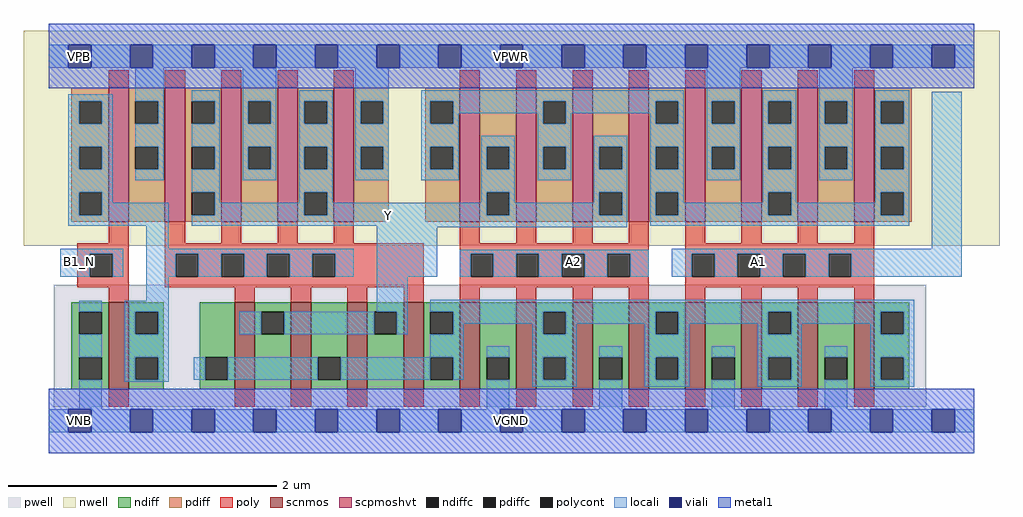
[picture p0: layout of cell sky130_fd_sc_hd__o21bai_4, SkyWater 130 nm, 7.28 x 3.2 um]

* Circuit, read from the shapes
.subckt sky130_fd_sc_hd__o21bai_4 A1 A2 B1_N VGND VNB VPB VPWR Y
XM1 n1 B1_N VGND VNB sky130_fd_pr__nfet_01v8 w=0.65 l=0.15
XM2 Y n1 n2 VNB sky130_fd_pr__nfet_01v8 w=0.65 l=0.15 m=4
XM3 VGND A2 n2 VNB sky130_fd_pr__nfet_01v8 w=0.65 l=0.15 m=4
XM4 VGND A1 n2 VNB sky130_fd_pr__nfet_01v8 w=0.65 l=0.15 m=4
XM5 VPWR B1_N n1 VPB sky130_fd_pr__pfet_01v8_hvt w=1 l=0.15
XM6 Y n1 VPWR VPB sky130_fd_pr__pfet_01v8_hvt w=1 l=0.15 m=4
XM7 Y A2 n3 VPB sky130_fd_pr__pfet_01v8_hvt w=1 l=0.15 m=4
XM8 VPWR A1 n3 VPB sky130_fd_pr__pfet_01v8_hvt w=1 l=0.15 m=4
.ends

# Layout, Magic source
magic
tech sky130B
magscale 1 2
<< nwell >>
rect -38 261 1418 582
<< pwell >>
rect 7 21 1309 203
rect 29 -17 63 21
<< scnmos >>
rect 89 47 119 177
rect 277 47 307 177
rect 361 47 391 177
rect 445 47 475 177
rect 529 47 559 177
rect 613 47 643 177
rect 697 47 727 177
rect 781 47 811 177
rect 865 47 895 177
rect 949 47 979 177
rect 1033 47 1063 177
rect 1117 47 1147 177
rect 1201 47 1231 177
<< scpmoshvt >>
rect 89 297 119 497
rect 173 297 203 497
rect 257 297 287 497
rect 341 297 371 497
rect 425 297 455 497
rect 613 297 643 497
rect 697 297 727 497
rect 781 297 811 497
rect 865 297 895 497
rect 949 297 979 497
rect 1033 297 1063 497
rect 1117 297 1147 497
rect 1201 297 1231 497
<< ndiff >>
rect 33 163 89 177
rect 33 129 45 163
rect 79 129 89 163
rect 33 95 89 129
rect 33 61 45 95
rect 79 61 89 95
rect 33 47 89 61
rect 119 163 171 177
rect 119 129 129 163
rect 163 129 171 163
rect 119 95 171 129
rect 119 61 129 95
rect 163 61 171 95
rect 119 47 171 61
rect 225 95 277 177
rect 225 61 233 95
rect 267 61 277 95
rect 225 47 277 61
rect 307 163 361 177
rect 307 129 317 163
rect 351 129 361 163
rect 307 47 361 129
rect 391 95 445 177
rect 391 61 401 95
rect 435 61 445 95
rect 391 47 445 61
rect 475 163 529 177
rect 475 129 485 163
rect 519 129 529 163
rect 475 47 529 129
rect 559 163 613 177
rect 559 129 569 163
rect 603 129 613 163
rect 559 95 613 129
rect 559 61 569 95
rect 603 61 613 95
rect 559 47 613 61
rect 643 95 697 177
rect 643 61 653 95
rect 687 61 697 95
rect 643 47 697 61
rect 727 163 781 177
rect 727 129 737 163
rect 771 129 781 163
rect 727 95 781 129
rect 727 61 737 95
rect 771 61 781 95
rect 727 47 781 61
rect 811 95 865 177
rect 811 61 821 95
rect 855 61 865 95
rect 811 47 865 61
rect 895 163 949 177
rect 895 129 905 163
rect 939 129 949 163
rect 895 95 949 129
rect 895 61 905 95
rect 939 61 949 95
rect 895 47 949 61
rect 979 95 1033 177
rect 979 61 989 95
rect 1023 61 1033 95
rect 979 47 1033 61
rect 1063 163 1117 177
rect 1063 129 1073 163
rect 1107 129 1117 163
rect 1063 95 1117 129
rect 1063 61 1073 95
rect 1107 61 1117 95
rect 1063 47 1117 61
rect 1147 95 1201 177
rect 1147 61 1157 95
rect 1191 61 1201 95
rect 1147 47 1201 61
rect 1231 163 1283 177
rect 1231 129 1241 163
rect 1275 129 1283 163
rect 1231 95 1283 129
rect 1231 61 1241 95
rect 1275 61 1283 95
rect 1231 47 1283 61
<< pdiff >>
rect 33 477 89 497
rect 33 443 45 477
rect 79 443 89 477
rect 33 409 89 443
rect 33 375 45 409
rect 79 375 89 409
rect 33 341 89 375
rect 33 307 45 341
rect 79 307 89 341
rect 33 297 89 307
rect 119 477 173 497
rect 119 443 129 477
rect 163 443 173 477
rect 119 409 173 443
rect 119 375 129 409
rect 163 375 173 409
rect 119 297 173 375
rect 203 477 257 497
rect 203 443 213 477
rect 247 443 257 477
rect 203 409 257 443
rect 203 375 213 409
rect 247 375 257 409
rect 203 341 257 375
rect 203 307 213 341
rect 247 307 257 341
rect 203 297 257 307
rect 287 477 341 497
rect 287 443 297 477
rect 331 443 341 477
rect 287 409 341 443
rect 287 375 297 409
rect 331 375 341 409
rect 287 297 341 375
rect 371 477 425 497
rect 371 443 381 477
rect 415 443 425 477
rect 371 409 425 443
rect 371 375 381 409
rect 415 375 425 409
rect 371 341 425 375
rect 371 307 381 341
rect 415 307 425 341
rect 371 297 425 307
rect 455 477 507 497
rect 455 443 465 477
rect 499 443 507 477
rect 455 409 507 443
rect 455 375 465 409
rect 499 375 507 409
rect 455 297 507 375
rect 561 477 613 497
rect 561 443 569 477
rect 603 443 613 477
rect 561 409 613 443
rect 561 375 569 409
rect 603 375 613 409
rect 561 297 613 375
rect 643 409 697 497
rect 643 375 653 409
rect 687 375 697 409
rect 643 341 697 375
rect 643 307 653 341
rect 687 307 697 341
rect 643 297 697 307
rect 727 477 781 497
rect 727 443 737 477
rect 771 443 781 477
rect 727 409 781 443
rect 727 375 737 409
rect 771 375 781 409
rect 727 297 781 375
rect 811 409 865 497
rect 811 375 821 409
rect 855 375 865 409
rect 811 341 865 375
rect 811 307 821 341
rect 855 307 865 341
rect 811 297 865 307
rect 895 477 949 497
rect 895 443 905 477
rect 939 443 949 477
rect 895 409 949 443
rect 895 375 905 409
rect 939 375 949 409
rect 895 341 949 375
rect 895 307 905 341
rect 939 307 949 341
rect 895 297 949 307
rect 979 477 1033 497
rect 979 443 989 477
rect 1023 443 1033 477
rect 979 409 1033 443
rect 979 375 989 409
rect 1023 375 1033 409
rect 979 297 1033 375
rect 1063 477 1117 497
rect 1063 443 1073 477
rect 1107 443 1117 477
rect 1063 409 1117 443
rect 1063 375 1073 409
rect 1107 375 1117 409
rect 1063 341 1117 375
rect 1063 307 1073 341
rect 1107 307 1117 341
rect 1063 297 1117 307
rect 1147 477 1201 497
rect 1147 443 1157 477
rect 1191 443 1201 477
rect 1147 409 1201 443
rect 1147 375 1157 409
rect 1191 375 1201 409
rect 1147 297 1201 375
rect 1231 477 1287 497
rect 1231 443 1241 477
rect 1275 443 1287 477
rect 1231 409 1287 443
rect 1231 375 1241 409
rect 1275 375 1287 409
rect 1231 341 1287 375
rect 1231 307 1241 341
rect 1275 307 1287 341
rect 1231 297 1287 307
<< ndiffc >>
rect 45 129 79 163
rect 45 61 79 95
rect 129 129 163 163
rect 129 61 163 95
rect 233 61 267 95
rect 317 129 351 163
rect 401 61 435 95
rect 485 129 519 163
rect 569 129 603 163
rect 569 61 603 95
rect 653 61 687 95
rect 737 129 771 163
rect 737 61 771 95
rect 821 61 855 95
rect 905 129 939 163
rect 905 61 939 95
rect 989 61 1023 95
rect 1073 129 1107 163
rect 1073 61 1107 95
rect 1157 61 1191 95
rect 1241 129 1275 163
rect 1241 61 1275 95
<< pdiffc >>
rect 45 443 79 477
rect 45 375 79 409
rect 45 307 79 341
rect 129 443 163 477
rect 129 375 163 409
rect 213 443 247 477
rect 213 375 247 409
rect 213 307 247 341
rect 297 443 331 477
rect 297 375 331 409
rect 381 443 415 477
rect 381 375 415 409
rect 381 307 415 341
rect 465 443 499 477
rect 465 375 499 409
rect 569 443 603 477
rect 569 375 603 409
rect 653 375 687 409
rect 653 307 687 341
rect 737 443 771 477
rect 737 375 771 409
rect 821 375 855 409
rect 821 307 855 341
rect 905 443 939 477
rect 905 375 939 409
rect 905 307 939 341
rect 989 443 1023 477
rect 989 375 1023 409
rect 1073 443 1107 477
rect 1073 375 1107 409
rect 1073 307 1107 341
rect 1157 443 1191 477
rect 1157 375 1191 409
rect 1241 443 1275 477
rect 1241 375 1275 409
rect 1241 307 1275 341
<< poly >>
rect 89 497 119 523
rect 173 497 203 523
rect 257 497 287 523
rect 341 497 371 523
rect 425 497 455 523
rect 613 497 643 523
rect 697 497 727 523
rect 781 497 811 523
rect 865 497 895 523
rect 949 497 979 523
rect 1033 497 1063 523
rect 1117 497 1147 523
rect 1201 497 1231 523
rect 89 265 119 297
rect 42 249 119 265
rect 42 215 61 249
rect 95 215 119 249
rect 42 199 119 215
rect 173 265 203 297
rect 257 265 287 297
rect 341 265 371 297
rect 425 265 455 297
rect 613 265 643 297
rect 697 265 727 297
rect 781 265 811 297
rect 865 265 895 297
rect 173 249 559 265
rect 173 215 189 249
rect 223 215 257 249
rect 291 215 325 249
rect 359 215 393 249
rect 427 215 559 249
rect 173 199 559 215
rect 89 177 119 199
rect 277 177 307 199
rect 361 177 391 199
rect 445 177 475 199
rect 529 177 559 199
rect 613 249 895 265
rect 613 215 629 249
rect 663 215 697 249
rect 731 215 765 249
rect 799 215 833 249
rect 867 215 895 249
rect 613 199 895 215
rect 613 177 643 199
rect 697 177 727 199
rect 781 177 811 199
rect 865 177 895 199
rect 949 265 979 297
rect 1033 265 1063 297
rect 1117 265 1147 297
rect 1201 265 1231 297
rect 949 249 1231 265
rect 949 215 959 249
rect 993 215 1027 249
rect 1061 215 1095 249
rect 1129 215 1163 249
rect 1197 215 1231 249
rect 949 199 1231 215
rect 949 177 979 199
rect 1033 177 1063 199
rect 1117 177 1147 199
rect 1201 177 1231 199
rect 89 21 119 47
rect 277 21 307 47
rect 361 21 391 47
rect 445 21 475 47
rect 529 21 559 47
rect 613 21 643 47
rect 697 21 727 47
rect 781 21 811 47
rect 865 21 895 47
rect 949 21 979 47
rect 1033 21 1063 47
rect 1117 21 1147 47
rect 1201 21 1231 47
<< polycont >>
rect 61 215 95 249
rect 189 215 223 249
rect 257 215 291 249
rect 325 215 359 249
rect 393 215 427 249
rect 629 215 663 249
rect 697 215 731 249
rect 765 215 799 249
rect 833 215 867 249
rect 959 215 993 249
rect 1027 215 1061 249
rect 1095 215 1129 249
rect 1163 215 1197 249
<< locali >>
rect 0 527 29 561
rect 63 527 121 561
rect 155 527 213 561
rect 247 527 305 561
rect 339 527 397 561
rect 431 527 489 561
rect 523 527 581 561
rect 615 527 673 561
rect 707 527 765 561
rect 799 527 857 561
rect 891 527 949 561
rect 983 527 1041 561
rect 1075 527 1133 561
rect 1167 527 1225 561
rect 1259 527 1317 561
rect 1351 527 1380 561
rect 29 477 95 487
rect 29 443 45 477
rect 79 443 95 477
rect 29 409 95 443
rect 29 375 45 409
rect 79 375 95 409
rect 29 341 95 375
rect 129 477 171 527
rect 163 443 171 477
rect 129 409 171 443
rect 163 375 171 409
rect 129 359 171 375
rect 213 477 255 493
rect 247 443 255 477
rect 213 409 255 443
rect 247 375 255 409
rect 29 307 45 341
rect 79 325 95 341
rect 213 341 255 375
rect 289 477 339 527
rect 289 443 297 477
rect 331 443 339 477
rect 289 409 339 443
rect 289 375 297 409
rect 331 375 339 409
rect 289 359 339 375
rect 373 477 423 493
rect 373 443 381 477
rect 415 443 423 477
rect 373 409 423 443
rect 373 375 381 409
rect 415 375 423 409
rect 79 307 179 325
rect 29 291 179 307
rect 247 325 255 341
rect 373 341 423 375
rect 457 477 507 527
rect 457 443 465 477
rect 499 443 507 477
rect 457 409 507 443
rect 457 375 465 409
rect 499 375 507 409
rect 457 359 507 375
rect 555 477 947 493
rect 555 443 569 477
rect 603 459 737 477
rect 603 443 611 459
rect 555 409 611 443
rect 729 443 737 459
rect 771 459 905 477
rect 771 443 779 459
rect 555 375 569 409
rect 603 375 611 409
rect 555 359 611 375
rect 645 409 695 425
rect 645 375 653 409
rect 687 375 695 409
rect 373 325 381 341
rect 247 307 381 325
rect 415 325 423 341
rect 645 341 695 375
rect 729 409 779 443
rect 897 443 905 459
rect 939 443 947 477
rect 729 375 737 409
rect 771 375 779 409
rect 729 359 779 375
rect 813 409 863 425
rect 813 375 821 409
rect 855 375 863 409
rect 645 325 653 341
rect 415 307 653 325
rect 687 325 695 341
rect 813 341 863 375
rect 813 325 821 341
rect 687 307 821 325
rect 855 307 863 341
rect 213 291 863 307
rect 897 409 947 443
rect 897 375 905 409
rect 939 375 947 409
rect 897 341 947 375
rect 981 477 1031 527
rect 981 443 989 477
rect 1023 443 1031 477
rect 981 409 1031 443
rect 981 375 989 409
rect 1023 375 1031 409
rect 981 359 1031 375
rect 1065 477 1115 493
rect 1065 443 1073 477
rect 1107 443 1115 477
rect 1065 409 1115 443
rect 1065 375 1073 409
rect 1107 375 1115 409
rect 897 307 905 341
rect 939 325 947 341
rect 1065 341 1115 375
rect 1149 477 1199 527
rect 1149 443 1157 477
rect 1191 443 1199 477
rect 1149 409 1199 443
rect 1149 375 1157 409
rect 1191 375 1199 409
rect 1149 359 1199 375
rect 1233 477 1283 493
rect 1233 443 1241 477
rect 1275 443 1283 477
rect 1233 409 1283 443
rect 1233 375 1241 409
rect 1275 375 1283 409
rect 1065 325 1073 341
rect 939 307 1073 325
rect 1107 325 1115 341
rect 1233 341 1283 375
rect 1233 325 1241 341
rect 1107 307 1241 325
rect 1275 307 1283 341
rect 897 291 1283 307
rect 145 257 179 291
rect 489 289 863 291
rect 17 249 111 257
rect 17 215 61 249
rect 95 215 111 249
rect 145 249 455 257
rect 145 215 189 249
rect 223 215 257 249
rect 291 215 325 249
rect 359 215 393 249
rect 427 215 455 249
rect 489 215 579 289
rect 1317 257 1362 491
rect 613 249 895 255
rect 613 215 629 249
rect 663 215 697 249
rect 731 215 765 249
rect 799 215 833 249
rect 867 215 895 249
rect 929 249 1362 257
rect 929 215 959 249
rect 993 215 1027 249
rect 1061 215 1095 249
rect 1129 215 1163 249
rect 1197 215 1362 249
rect 145 179 179 215
rect 45 163 79 179
rect 45 95 79 129
rect 45 17 79 61
rect 113 163 179 179
rect 489 163 535 215
rect 113 129 129 163
rect 163 129 179 163
rect 284 129 317 163
rect 351 129 485 163
rect 519 129 535 163
rect 569 163 1291 181
rect 603 145 737 163
rect 603 129 619 145
rect 113 95 179 129
rect 569 95 619 129
rect 721 129 737 145
rect 771 145 905 163
rect 771 129 787 145
rect 113 61 129 95
rect 163 61 179 95
rect 216 61 233 95
rect 267 61 401 95
rect 435 61 569 95
rect 603 61 619 95
rect 653 95 687 111
rect 113 58 179 61
rect 653 17 687 61
rect 721 95 787 129
rect 889 129 905 145
rect 939 145 1073 163
rect 939 129 955 145
rect 721 61 737 95
rect 771 61 787 95
rect 721 51 787 61
rect 821 95 855 111
rect 821 17 855 61
rect 889 95 955 129
rect 1057 129 1073 145
rect 1107 145 1241 163
rect 1107 129 1123 145
rect 889 61 905 95
rect 939 61 955 95
rect 889 51 955 61
rect 989 95 1023 111
rect 989 17 1023 61
rect 1057 95 1123 129
rect 1225 129 1241 145
rect 1275 129 1291 163
rect 1057 61 1073 95
rect 1107 61 1123 95
rect 1057 51 1123 61
rect 1157 95 1191 111
rect 1157 17 1191 61
rect 1225 95 1291 129
rect 1225 61 1241 95
rect 1275 61 1291 95
rect 1225 51 1291 61
rect 0 -17 29 17
rect 63 -17 121 17
rect 155 -17 213 17
rect 247 -17 305 17
rect 339 -17 397 17
rect 431 -17 489 17
rect 523 -17 581 17
rect 615 -17 673 17
rect 707 -17 765 17
rect 799 -17 857 17
rect 891 -17 949 17
rect 983 -17 1041 17
rect 1075 -17 1133 17
rect 1167 -17 1225 17
rect 1259 -17 1317 17
rect 1351 -17 1380 17
<< viali >>
rect 29 527 63 561
rect 121 527 155 561
rect 213 527 247 561
rect 305 527 339 561
rect 397 527 431 561
rect 489 527 523 561
rect 581 527 615 561
rect 673 527 707 561
rect 765 527 799 561
rect 857 527 891 561
rect 949 527 983 561
rect 1041 527 1075 561
rect 1133 527 1167 561
rect 1225 527 1259 561
rect 1317 527 1351 561
rect 29 -17 63 17
rect 121 -17 155 17
rect 213 -17 247 17
rect 305 -17 339 17
rect 397 -17 431 17
rect 489 -17 523 17
rect 581 -17 615 17
rect 673 -17 707 17
rect 765 -17 799 17
rect 857 -17 891 17
rect 949 -17 983 17
rect 1041 -17 1075 17
rect 1133 -17 1167 17
rect 1225 -17 1259 17
rect 1317 -17 1351 17
<< metal1 >>
rect 0 561 1380 592
rect 0 527 29 561
rect 63 527 121 561
rect 155 527 213 561
rect 247 527 305 561
rect 339 527 397 561
rect 431 527 489 561
rect 523 527 581 561
rect 615 527 673 561
rect 707 527 765 561
rect 799 527 857 561
rect 891 527 949 561
rect 983 527 1041 561
rect 1075 527 1133 561
rect 1167 527 1225 561
rect 1259 527 1317 561
rect 1351 527 1380 561
rect 0 496 1380 527
rect 0 17 1380 48
rect 0 -17 29 17
rect 63 -17 121 17
rect 155 -17 213 17
rect 247 -17 305 17
rect 339 -17 397 17
rect 431 -17 489 17
rect 523 -17 581 17
rect 615 -17 673 17
rect 707 -17 765 17
rect 799 -17 857 17
rect 891 -17 949 17
rect 983 -17 1041 17
rect 1075 -17 1133 17
rect 1167 -17 1225 17
rect 1259 -17 1317 17
rect 1351 -17 1380 17
rect 0 -48 1380 -17
<< labels >>
flabel locali s 489 289 523 323 0 FreeSans 400 0 0 0 Y
port 8 nsew signal output
flabel locali s 29 221 63 255 0 FreeSans 400 0 0 0 B1_N
port 3 nsew signal input
flabel locali s 1041 221 1075 255 0 FreeSans 400 0 0 0 A1
port 1 nsew signal input
flabel locali s 765 221 799 255 0 FreeSans 400 0 0 0 A2
port 2 nsew signal input
flabel pwell s 29 -17 63 17 0 FreeSans 200 0 0 0 VNB
port 5 nsew ground bidirectional
flabel nwell s 29 527 63 561 0 FreeSans 200 0 0 0 VPB
port 6 nsew power bidirectional
flabel metal1 s 29 -17 63 17 0 FreeSans 200 0 0 0 VGND
port 4 nsew ground bidirectional abutment
flabel metal1 s 29 527 63 561 0 FreeSans 200 0 0 0 VPWR
port 7 nsew power bidirectional abutment
rlabel comment s 0 0 0 0 4 o21bai_4
rlabel metal1 s 0 -48 1380 48 1 VGND
port 4 nsew ground bidirectional abutment
rlabel metal1 s 0 496 1380 592 1 VPWR
port 7 nsew power bidirectional abutment
<< properties >>
string FIXED_BBOX 0 0 1380 544
string GDS_END 1348026
string GDS_FILE $PDKPATH/libs.ref/sky130_fd_sc_hd/gds/sky130_fd_sc_hd.gds
string GDS_START 1337218
string LEFclass CORE
string LEFsite unithd
string LEFsymmetry X Y R90
string path 0.000 2.720 6.900 2.720 
<< end >>
